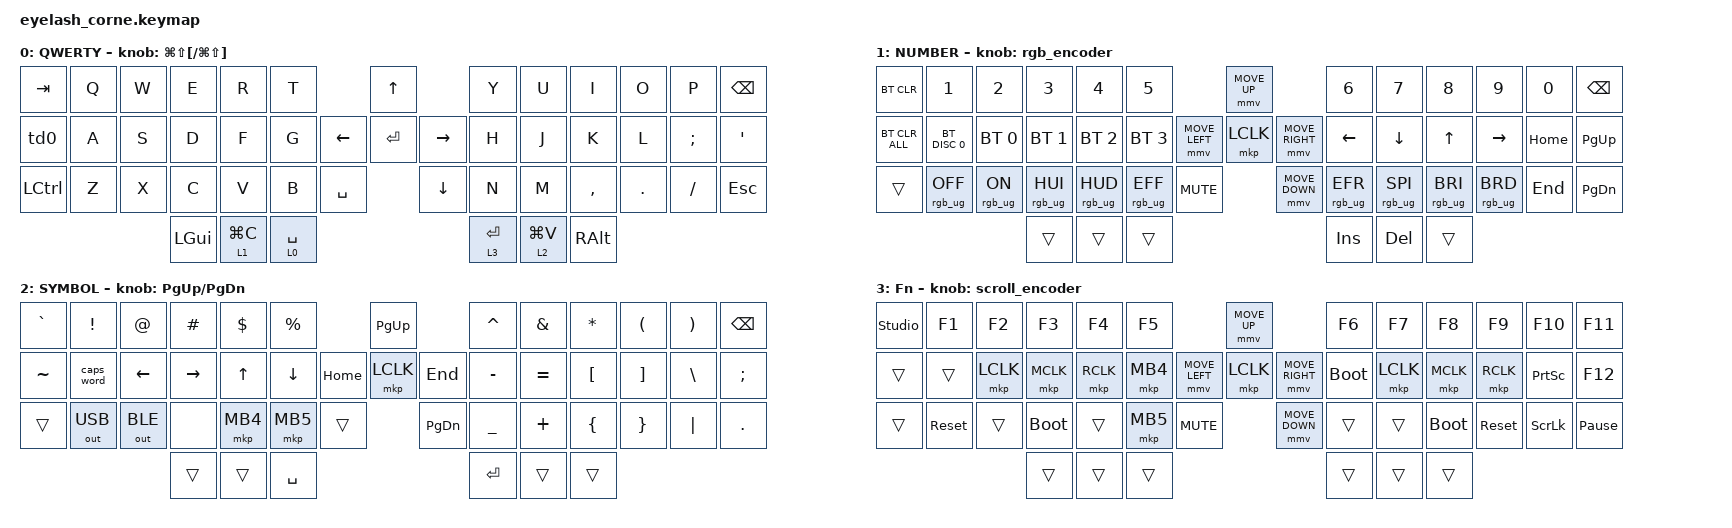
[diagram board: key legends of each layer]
#define ZMK_POINTING_DEFAULT_MOVE_VAL 1200  // 600
#define ZMK_POINTING_DEFAULT_SCRL_VAL 25   // 10

#include <input/processors.dtsi>
#include <zephyr/dt-bindings/input/input-event-codes.h>
#include <behaviors.dtsi>
#include <dt-bindings/zmk/bt.h>
#include <dt-bindings/zmk/keys.h>
#include <dt-bindings/zmk/outputs.h>
#include <dt-bindings/zmk/pointing.h>
#include <dt-bindings/zmk/rgb.h>

&mmv_input_listener { input-processors = <&zip_xy_scaler 2 1>; };

&msc_input_listener { input-processors = <&zip_scroll_scaler 2 1>; };

&msc {
    acceleration-exponent = <1>;      // 0
    time-to-max-speed-ms = <100>;       // 300
    delay-ms = <0>;                   // 0
};

&mmv {
    time-to-max-speed-ms = <500>;
    acceleration-exponent = <2>;
    trigger-period-ms = <16>;
};

/ {
    behaviors {
        td0: td0 {
            compatible = "zmk,behavior-tap-dance";
            display-name = "Shift/Caps Lock Tap Dance";
            #binding-cells = <0>;
            bindings = <&kp LEFT_SHIFT>, <&kp CAPS>;
        };
    };

    rgb_encoder: rgb_encoder {
        compatible = "zmk,behavior-sensor-rotate";
        #sensor-binding-cells = <0>;
        bindings = <&rgb_ug RGB_BRI>, <&rgb_ug RGB_BRD>;
    };

    scroll_encoder: scroll_encoder {
        compatible = "zmk,behavior-sensor-rotate";
        #sensor-binding-cells = <0>;
        bindings = <&msc SCRL_DOWN>, <&msc SCRL_UP>;

        tap-ms = <100>;
    };

    keymap {
        compatible = "zmk,keymap";

        default_layer {
            display-name = "QWERTY";
            bindings = <
&kp TAB    &kp Q  &kp W  &kp E     &kp R        &kp T                               &kp UP                &kp Y        &kp U        &kp I      &kp O    &kp P     &kp BSPC
&td0       &kp A  &kp S  &kp D     &kp F        &kp G                     &kp LEFT  &kp ENTER  &kp RIGHT  &kp H        &kp J        &kp K      &kp L    &kp SEMI  &kp SQT
&kp LCTRL  &kp Z  &kp X  &kp C     &kp V        &kp B        &kp SPACE              &kp DOWN              &kp N        &kp M        &kp COMMA  &kp DOT  &kp FSLH  &kp ESC
                         &kp LGUI  &lt 1 LG(C)  &lt 0 SPACE                                               &lt 3 ENTER  &lt 2 LG(V)  &kp RALT
            >;

            sensor-bindings = <&inc_dec_kp LG(LS(LEFT_BRACKET)) LG(LS(RIGHT_BRACKET))>;
        };

        lower_layer {
            display-name = "NUMBER";
            bindings = <
&bt BT_CLR      &kp N1           &kp N2          &kp N3           &kp N4           &kp N5                                         &mmv MOVE_UP                     &kp N6           &kp N7           &kp N8           &kp N9           &kp N0    &kp BSPC
&bt BT_CLR_ALL  &bt BT_DISC 0    &bt BT_SEL 0    &bt BT_SEL 1     &bt BT_SEL 2     &bt BT_SEL 3                   &mmv MOVE_LEFT  &mkp LCLK       &mmv MOVE_RIGHT  &kp LEFT         &kp DOWN         &kp UP           &kp RIGHT        &kp HOME  &kp PG_UP
&trans          &rgb_ug RGB_OFF  &rgb_ug RGB_ON  &rgb_ug RGB_HUI  &rgb_ug RGB_HUD  &rgb_ug RGB_EFF  &kp C_MUTE                    &mmv MOVE_DOWN                   &rgb_ug RGB_EFR  &rgb_ug RGB_SPI  &rgb_ug RGB_BRI  &rgb_ug RGB_BRD  &kp END   &kp PG_DN
                                                 &trans           &trans           &trans                                                                          &kp INS          &kp DEL          &trans
            >;

            sensor-bindings = <&rgb_encoder>;
        };

        raise_layer {
            display-name = "SYMBOL";
            bindings = <
&kp GRAVE  &kp EXCL      &kp AT        &kp HASH   &kp DLLR  &kp PRCNT                      &kp PAGE_UP             &kp CARET  &kp AMPS   &kp ASTRK  &kp LPAR  &kp RPAR  &kp BSPC
&kp TILDE  &caps_word    &kp LEFT      &kp RIGHT  &kp UP    &kp DOWN             &kp HOME  &mkp LCLK      &kp END  &kp MINUS  &kp EQUAL  &kp LBKT   &kp RBKT  &kp BSLH  &kp SEMI
&trans     &out OUT_USB  &out OUT_BLE  &none      &mkp MB4  &mkp MB5   &trans              &kp PAGE_DOWN           &kp UNDER  &kp PLUS   &kp LBRC   &kp RBRC  &kp PIPE  &kp DOT
                                       &trans     &trans    &kp SPACE                                              &kp RET    &trans     &trans
            >;

            sensor-bindings = <&inc_dec_kp PAGE_UP PAGE_DOWN>;
        };

        layer_3 {
            display-name = "Fn";
            bindings = <
&studio_unlock  &kp F1      &kp F2     &kp F3       &kp F4     &kp F5                                  &mmv MOVE_UP                     &kp F6       &kp F7     &kp F8       &kp F9      &kp F10          &kp F11
&trans          &trans      &mkp LCLK  &mkp MCLK    &mkp RCLK  &mkp MB4                &mmv MOVE_LEFT  &mkp LCLK       &mmv MOVE_RIGHT  &bootloader  &mkp LCLK  &mkp MCLK    &mkp RCLK   &kp PRINTSCREEN  &kp F12
&trans          &sys_reset  &trans     &bootloader  &trans     &mkp MB5  &kp C_MUTE                    &mmv MOVE_DOWN                   &trans       &trans     &bootloader  &sys_reset  &kp SCROLLLOCK   &kp PAUSE_BREAK
                                       &trans       &trans     &trans                                                                   &trans       &trans     &trans
            >;

            sensor-bindings = <&scroll_encoder>;
        };
    };
};
